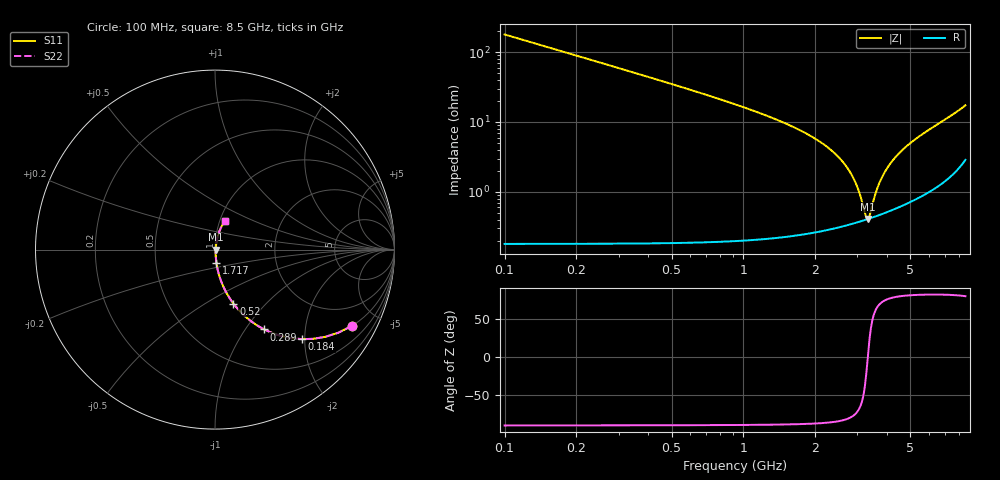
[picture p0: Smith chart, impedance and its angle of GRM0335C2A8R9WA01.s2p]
!Murata Part Number: GRM0335C2A8R9WA01
!These Parameters are Measured in Series Mode Connection
!Data Generated on Mar 30, 2021
!  o--ll--o
!Port1  Port2
!  o------o
!Operation Temp=25[degC], DC Bias Voltage=0[V]
!Freq. Start=100[MHz] Stop=9[GHz] 401[Steps]
# Hz S RI R 50
!Freq.(Hz) S11(Real) S11(Imag) S21(Real) S21(Imag) S12(Real) S12(Imag) S22(Real) S22(Imag)
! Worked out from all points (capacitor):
!   401 points, 100 MHz to 8.5 GHz, reference 50 ohm
!   read as one part in series: C = 8.9 pF near 142 MHz
!   lowest |Z| = 408 mohm at 3.313 GHz (marker M1)
!   series resonance near 3.317 GHz, so ESL is about 260 pH
!   S11 on the Smith chart (normalised r, x): 100 MHz: 1.00, -3.57; 184 MHz: 1.00, -1.94; 289 MHz: 1.00, -1.23; 520 MHz: 1.00, -0.67; 1.717 GHz: 1.00, -0.15; 8.5 GHz: 1.06, +0.34
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1e8  0.7612 -0.4258  0.2388 0.4258  0.2388 0.4258  0.7612 -0.4258
1.84e8  0.4843 -0.4988  0.5157 0.4988  0.5157 0.4988  0.4843 -0.4988
2.89e8  0.2745 -0.4448  0.7255 0.4448  0.7255 0.4448  0.2745 -0.4448
3.94e8  0.168 -0.3718  0.832 0.3718  0.832 0.3718  0.168 -0.3718
5.2e8  0.1026 -0.3007  0.8974 0.3007  0.8974 0.3007  0.1026 -0.3007
8.98e8  0.0348 -0.1781  0.9652 0.1781  0.9652 0.1781  0.0348 -0.1781
1.507e9  0.0111 -0.0935  0.9889 0.0935  0.9889 0.0935  0.0111 -0.0935
1.717e9  0.00823 -0.076  0.9918 0.076  0.9918 0.076  0.00823 -0.076
2.473e9  0.00412 -0.0324  0.9959 0.0324  0.9959 0.0324  0.00412 -0.0324
2.914e9  0.00375 -0.0142  0.9962 0.0142  0.9962 0.0142  0.00375 -0.0142
3.061e9  0.00381 -0.00883  0.9962 0.00883  0.9962 0.00883  0.00381 -0.00883
3.25e9  0.00398 -0.00224  0.996 0.00224  0.996 0.00224  0.00398 -0.00224
3.313e9  0.00406 -0.000123  0.9959 0.000123  0.9959 0.000123  0.00406 -0.000123
3.376e9  0.00416 0.00196  0.9958 -0.00196  0.9958 -0.00196  0.00416 0.00196
3.565e9  0.00449 0.00802  0.9955 -0.00802  0.9955 -0.00802  0.00449 0.00802
3.754e9  0.00491 0.0138  0.9951 -0.0138  0.9951 -0.0138  0.00491 0.0138
3.985e9  0.00552 0.0207  0.9945 -0.0207  0.9945 -0.0207  0.00552 0.0207
4.3e9  0.00654 0.0296  0.9935 -0.0296  0.9935 -0.0296  0.00654 0.0296
4.888e9  0.00895 0.0456  0.991 -0.0456  0.991 -0.0456  0.00895 0.0456
5.707e9  0.0136 0.0674  0.9864 -0.0674  0.9864 -0.0674  0.0136 0.0674
7.114e9  0.0266 0.1074  0.9734 -0.1074  0.9734 -0.1074  0.0266 0.1074
8.5e9  0.054 0.1571  0.946 -0.1571  0.946 -0.1571  0.054 0.1571
